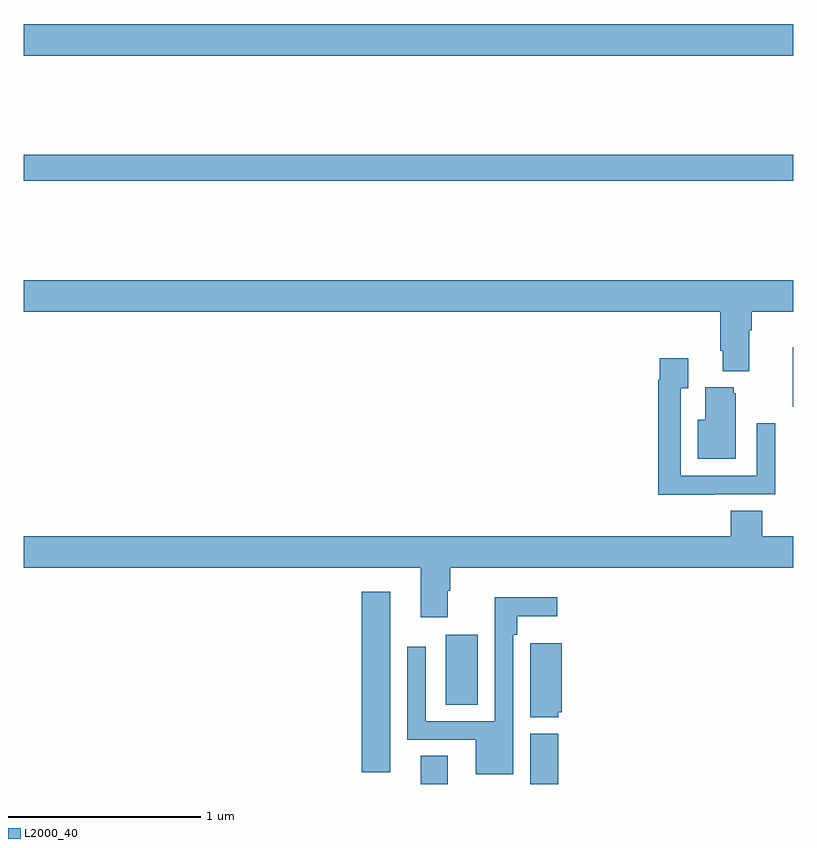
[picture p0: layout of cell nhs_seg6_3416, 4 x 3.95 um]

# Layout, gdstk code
import gdstk
lib = gdstk.Library(unit=1e-6, precision=1e-09)
def R(c, l, rs):  # rectangles x0, y0, x1, y1
    for r in rs: c.add(gdstk.rectangle(r[:2], r[2:], *l))
def P(c, l, *ps):  # polygons
    for p in ps: c.add(gdstk.Polygon(p, *l))
L2000_40 = (2000, 40)

nhs_seg6_3416 = lib.new_cell('nhs_seg6_3416')
R(nhs_seg6_3416, L2000_40, [(313.064,991.5,313.204,991.646), (313.634,991.5,313.778,991.762), (312.758,991.56,312.904,992.5), (313.193,991.912,313.36,992.275), (314.998,993.463,315,993.77), (311,994.636,315,994.772), (311,995.288,315,995.452)])
P(nhs_seg6_3416, L2000_40, [(314.773,993.86),(314.786,993.86),(314.786,993.956),(315,993.956),(315,994.12),(311,994.12),(311,993.956),(314.621,993.956),(314.621,993.754),(314.633,993.754),(314.633,993.647),(314.773,993.647)],
  [(314.591,993.006),(314.907,993.006),(314.907,993.376),(314.811,993.376),(314.811,993.102),(314.415,993.102),(314.415,993.559),(314.455,993.559),(314.455,993.715),(314.307,993.715),(314.307,993.602),(314.299,993.602),(314.299,993.005),(314.591,993.005)],
  [(314.701,993.531),(314.69,993.531),(314.69,993.562),(314.543,993.562),(314.543,993.394),(314.504,993.394),(314.504,993.191),(314.701,993.191)],
  [(313.204,992.504),(313.217,992.504),(313.217,992.624),(315,992.624),(315,992.788),(314.84,992.788),(314.84,992.921),(314.675,992.921),(314.675,992.788),(311,992.788),(311,992.624),(313.064,992.624),(313.064,992.367),(313.204,992.367)],
  [(313.545,992.276),(313.565,992.276),(313.565,992.372),(313.774,992.372),(313.774,992.47),(313.449,992.47),(313.449,991.827),(313.089,991.827),(313.089,992.215),(312.993,992.215),(312.993,991.731),(313.349,991.731),(313.349,991.55),(313.545,991.55)],
  [(313.779,991.872),(313.798,991.872),(313.798,992.233),(313.634,992.233),(313.634,991.847),(313.779,991.847)])

lib.write_gds('nhs_seg6_3416.gds')
